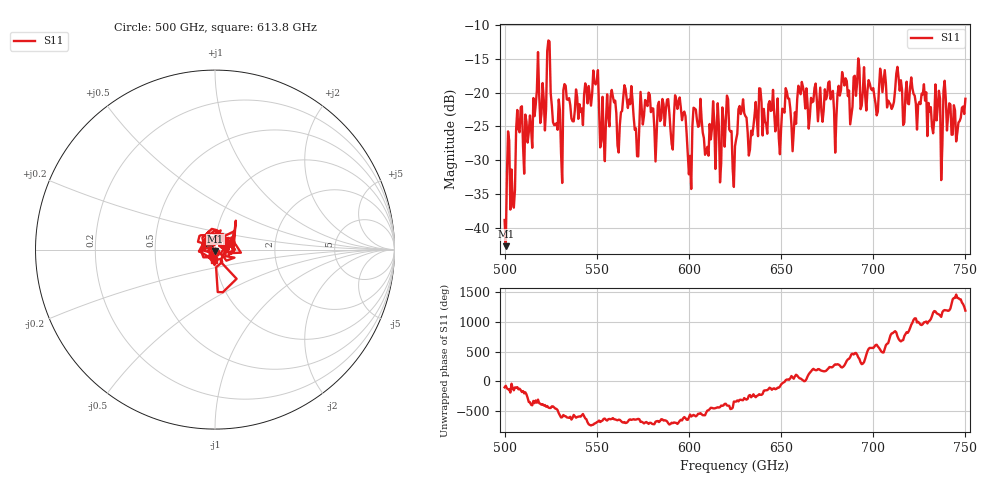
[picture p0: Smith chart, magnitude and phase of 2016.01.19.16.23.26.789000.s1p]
!Created with skrf (http://scikit-rf.org).
# GHz S RI R 50.0
!freq ReS11 ImS11
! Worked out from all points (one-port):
!   401 points, 500 GHz to 750 GHz, reference 50 ohm
!   lowest |S11| = -42.6 dB at 500.6 GHz (marker M1), VSWR 1.01, Z = 50.2 - j0.712 ohm
!   |S11| at or under -10 dB: start of sweep to end of sweep
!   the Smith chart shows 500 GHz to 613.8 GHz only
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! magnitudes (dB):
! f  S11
! 500 GHz  -38.8
! 500.6 GHz  -42.6
! 502.5 GHz  -27.1
! 504.4 GHz  -35.9
! 508.1 GHz  -25.9
! 513.8 GHz  -23.4
! 523.8 GHz  -12.3
! 531.2 GHz  -33.3
! 549.4 GHz  -18.8
! 553.1 GHz  -20.6
! 558.8 GHz  -20.6
! 562.5 GHz  -24.8
! 565.6 GHz  -19.5
! 571.9 GHz  -29.4
! 577.5 GHz  -22.0
! 590.6 GHz  -27.6
! 593.8 GHz  -22.4
! 600 GHz  -32.0
! 603.1 GHz  -22.4
! 609.4 GHz  -28.8
! 621.2 GHz  -21.0
! 625 GHz  -27.9
! 628.1 GHz  -23.2
! 656.2 GHz  -28.6
! 660.6 GHz  -20.3
! 687.5 GHz  -24.7
! 718.8 GHz  -21.6
! 750 GHz  -20.9
